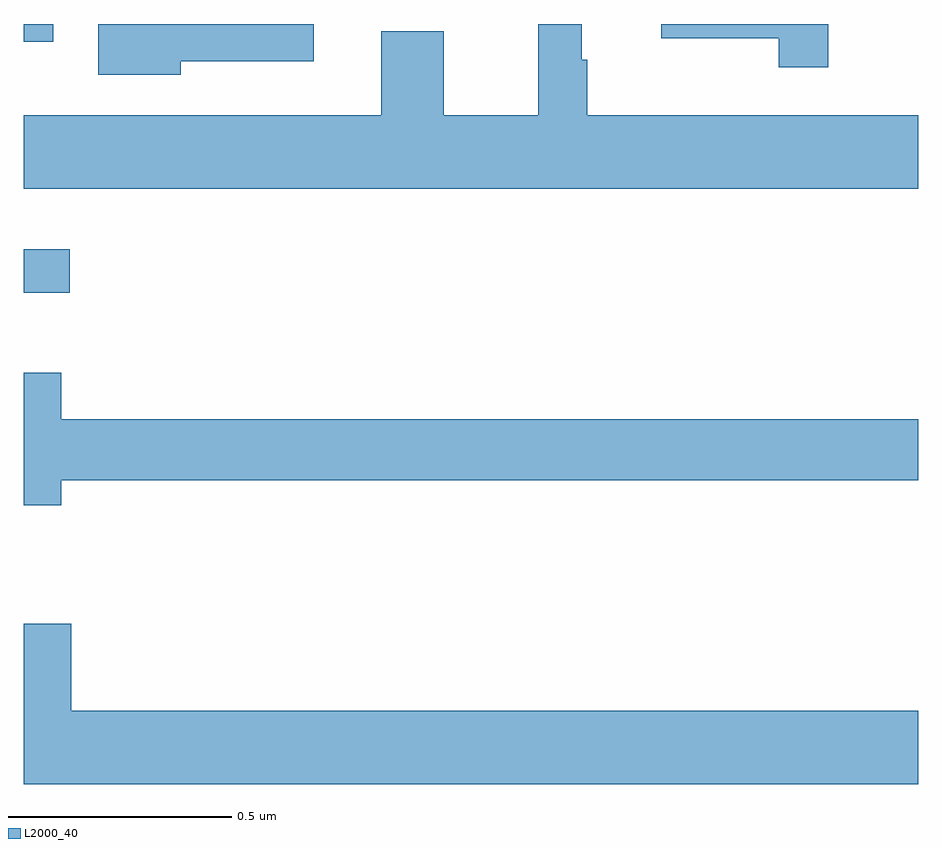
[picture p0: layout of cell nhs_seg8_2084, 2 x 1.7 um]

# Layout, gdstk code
import gdstk
lib = gdstk.Library(unit=1e-6, precision=1e-09)
def R(c, l, rs):  # rectangles x0, y0, x1, y1
    for r in rs: c.add(gdstk.rectangle(r[:2], r[2:], *l))
def P(c, l, *ps):  # polygons
    for p in ps: c.add(gdstk.Polygon(p, *l))
L2000_40 = (2000, 40)

nhs_seg8_2084 = lib.new_cell('nhs_seg8_2084')
R(nhs_seg8_2084, L2000_40, [(139,1084.299,139.102,1084.396), (139,1084.86,139.066,1084.9)])
P(nhs_seg8_2084, L2000_40, [(141,1084.696),(140.26,1084.696),(140.26,1084.82),(140.248,1084.82),(140.248,1084.9),(140.15,1084.9),(140.15,1084.696),(139.939,1084.696),(139.939,1084.884),(139.799,1084.884),(139.799,1084.696),(139,1084.696),(139,1084.532),(141,1084.532)],
  [(140.799,1084.9),(140.426,1084.9),(140.426,1084.868),(140.688,1084.868),(140.688,1084.803),(140.799,1084.803)],
  [(139.351,1084.817),(139.648,1084.817),(139.648,1084.9),(139.166,1084.9),(139.166,1084.787),(139.351,1084.787)],
  [(139.084,1083.88),(141,1083.88),(141,1084.016),(139.084,1084.016),(139.084,1084.12),(139,1084.12),(139,1083.824),(139.084,1083.824)],
  [(141,1083.364),(139.106,1083.364),(139.106,1083.559),(139,1083.559),(139,1083.2),(141,1083.2)])

lib.write_gds('nhs_seg8_2084.gds')
